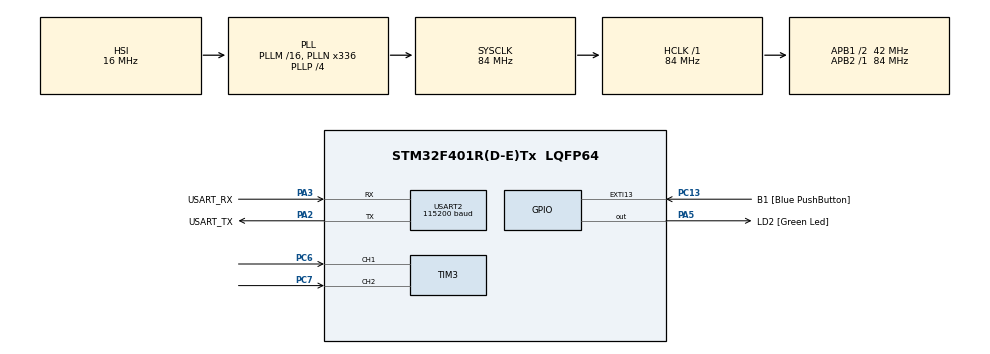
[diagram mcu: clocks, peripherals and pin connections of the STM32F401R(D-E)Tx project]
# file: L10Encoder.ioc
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Dma.Request0=USART2_TX
Dma.USART2_TX.0.Direction=DMA_MEMORY_TO_PERIPH
Dma.USART2_TX.0.FIFOMode=DMA_FIFOMODE_DISABLE
Dma.USART2_TX.0.Instance=DMA1_Stream6
Dma.USART2_TX.0.MemDataAlignment=DMA_MDATAALIGN_BYTE
Dma.USART2_TX.0.MemInc=DMA_MINC_ENABLE
Dma.USART2_TX.0.Mode=DMA_NORMAL
Dma.USART2_TX.0.PeriphDataAlignment=DMA_PDATAALIGN_BYTE
Dma.USART2_TX.0.PeriphInc=DMA_PINC_DISABLE
Dma.USART2_TX.0.Priority=DMA_PRIORITY_LOW
Mcu.Family=STM32F4
Mcu.Name=STM32F401R(D-E)Tx
Mcu.Package=LQFP64
NVIC.DMA1_Stream6_IRQn=true\:0\:0\:false\:false\:true\:false\:true\:true
NVIC.PriorityGroup=NVIC_PRIORITYGROUP_0
NVIC.TIM1_UP_TIM10_IRQn=true\:0\:0\:false\:false\:true\:true\:true\:true
NVIC.USART2_IRQn=true\:0\:0\:false\:false\:true\:true\:true\:true
PA13.GPIO_Label=TMS
PA13.Mode=Serial_Wire
PA13.Signal=SYS_JTMS-SWDIO
PA14.GPIO_Label=TCK
PA14.Mode=Serial_Wire
PA14.Signal=SYS_JTCK-SWCLK
PA2.GPIO_Label=USART_TX
PA2.GPIO_Mode=GPIO_MODE_AF_PP
PA2.GPIO_PuPd=GPIO_NOPULL
PA2.GPIO_Speed=GPIO_SPEED_FREQ_LOW
PA2.Mode=Asynchronous
PA2.Signal=USART2_TX
PA3.GPIO_Label=USART_RX
PA3.GPIO_Mode=GPIO_MODE_AF_PP
PA3.GPIO_PuPd=GPIO_NOPULL
PA3.GPIO_Speed=GPIO_SPEED_FREQ_LOW
PA3.Mode=Asynchronous
PA3.Signal=USART2_RX
PA5.GPIO_Label=LD2 [Green Led]
PA5.GPIO_Mode=GPIO_MODE_OUTPUT_PP
PA5.GPIO_PuPd=GPIO_NOPULL
PA5.GPIO_Speed=GPIO_SPEED_FREQ_LOW
PA5.Signal=GPIO_Output
PB3.GPIO_Label=SWO
PB3.Signal=SYS_JTDO-SWO
PC13-ANTI_TAMP.GPIO_Label=B1 [Blue PushButton]
PC13-ANTI_TAMP.GPIO_ModeDefaultEXTI=GPIO_MODE_IT_FALLING
PC13-ANTI_TAMP.GPIO_PuPd=GPIO_NOPULL
PC13-ANTI_TAMP.Signal=GPXTI13
PC14-OSC32_IN.Mode=LSE-External-Oscillator
PC14-OSC32_IN.Signal=RCC_OSC32_IN
PC15-OSC32_OUT.Mode=LSE-External-Oscillator
PC15-OSC32_OUT.Signal=RCC_OSC32_OUT
PC6.Signal=S_TIM3_CH1
PC7.Signal=S_TIM3_CH2
PH0\ -\ OSC_IN.Mode=HSE-External-Clock-Source
PH0\ -\ OSC_IN.Signal=RCC_OSC_IN
PH1\ -\ OSC_OUT.Mode=HSE-External-Clock-Source
PH1\ -\ OSC_OUT.Signal=RCC_OSC_OUT
ProjectManager.HeapSize=0x200
ProjectManager.StackSize=0x400
ProjectManager.TargetToolchain=STM32CubeIDE
RCC.48MHZClocksFreq_Value=48000000
RCC.AHBFreq_Value=84000000
RCC.APB1CLKDivider=RCC_HCLK_DIV2
RCC.APB1Freq_Value=42000000
RCC.APB1TimFreq_Value=84000000
RCC.APB2Freq_Value=84000000
RCC.APB2TimFreq_Value=84000000
RCC.CortexFreq_Value=84000000
RCC.HCLKFreq_Value=84000000
RCC.HSE_VALUE=8000000
RCC.HSI_VALUE=16000000
RCC.PLLN=336
RCC.PLLP=RCC_PLLP_DIV4
RCC.PLLQ=7
RCC.SYSCLKFreq_VALUE=84000000
RCC.SYSCLKSource=RCC_SYSCLKSOURCE_PLLCLK
RCC.VCOOutputFreq_Value=336000000
SH.S_TIM3_CH1.0=TIM3_CH1,Encoder_Interface
SH.S_TIM3_CH2.0=TIM3_CH2,Encoder_Interface
TIM1.Period=9999
TIM1.Prescaler=8399
TIM3.IC1Filter=15
TIM3.IC1Polarity=TIM_ICPOLARITY_FALLING
TIM3.IC2Filter=15
USART2.BaudRate=115200
USART2.VirtualMode=VM_ASYNC
VP_TIM1_VS_ClockSourceINT.Mode=Internal
board=NUCLEO-F401RE

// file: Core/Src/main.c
/* USER CODE BEGIN Header */
/**
  ******************************************************************************
  * @file           : main.c
  * @brief          : Main program body
  ******************************************************************************
  * @attention
  *
  * Copyright (c) 2024 STMicroelectronics.
  * All rights reserved.
  *
  * This software is licensed under terms that can be found in the LICENSE file
  * in the root directory of this software component.
  * If no LICENSE file comes with this software, it is provided AS-IS.
  *
  ******************************************************************************
  */
/* USER CODE END Header */
#include "main.h"

TIM_HandleTypeDef htim1;
TIM_HandleTypeDef htim3;

UART_HandleTypeDef huart2;
DMA_HandleTypeDef hdma_usart2_tx;

/* USER CODE BEGIN PV */
char string[128]; 	// string for UART
int length;			// length of string
uint16_t prev = 0;	// previous counter value
/* USER CODE END PV */

void SystemClock_Config(void);
static void MX_GPIO_Init(void);
static void MX_DMA_Init(void);
static void MX_USART2_UART_Init(void);
static void MX_TIM1_Init(void);
static void MX_TIM3_Init(void);

int main(void)
{

  /* MCU Configuration--------------------------------------------------------*/

  /* Reset of all peripherals, Initializes the Flash interface and the Systick. */
  HAL_Init();

  /* Configure the system clock */
  SystemClock_Config();

  /* Initialize all configured peripherals */
  MX_GPIO_Init();
  MX_DMA_Init();
  MX_USART2_UART_Init();
  MX_TIM1_Init();
  MX_TIM3_Init();
  /* USER CODE BEGIN 2 */
  HAL_TIM_Encoder_Start(&htim3, TIM_CHANNEL_ALL);
  HAL_TIM_Base_Start_IT(&htim1);
  /* USER CODE END 2 */

  /* Infinite loop */
  while (1)
  {

  }
}

void SystemClock_Config(void)
{
  RCC_OscInitTypeDef RCC_OscInitStruct = {0};
  RCC_ClkInitTypeDef RCC_ClkInitStruct = {0};

  /** Configure the main internal regulator output voltage
  */
  __HAL_RCC_PWR_CLK_ENABLE();
  __HAL_PWR_VOLTAGESCALING_CONFIG(PWR_REGULATOR_VOLTAGE_SCALE2);

  /** Initializes the RCC Oscillators according to the specified parameters
  * in the RCC_OscInitTypeDef structure.
  */
  RCC_OscInitStruct.OscillatorType = RCC_OSCILLATORTYPE_HSI;
  RCC_OscInitStruct.HSIState = RCC_HSI_ON;
  RCC_OscInitStruct.HSICalibrationValue = RCC_HSICALIBRATION_DEFAULT;
  RCC_OscInitStruct.PLL.PLLState = RCC_PLL_ON;
  RCC_OscInitStruct.PLL.PLLSource = RCC_PLLSOURCE_HSI;
  RCC_OscInitStruct.PLL.PLLM = 16;
  RCC_OscInitStruct.PLL.PLLN = 336;
  RCC_OscInitStruct.PLL.PLLP = RCC_PLLP_DIV4;
  RCC_OscInitStruct.PLL.PLLQ = 7;
  if (HAL_RCC_OscConfig(&RCC_OscInitStruct) != HAL_OK)
  {
    Error_Handler();
  }

  /** Initializes the CPU, AHB and APB buses clocks
  */
  RCC_ClkInitStruct.ClockType = RCC_CLOCKTYPE_HCLK|RCC_CLOCKTYPE_SYSCLK
                              |RCC_CLOCKTYPE_PCLK1|RCC_CLOCKTYPE_PCLK2;
  RCC_ClkInitStruct.SYSCLKSource = RCC_SYSCLKSOURCE_PLLCLK;
  RCC_ClkInitStruct.AHBCLKDivider = RCC_SYSCLK_DIV1;
  RCC_ClkInitStruct.APB1CLKDivider = RCC_HCLK_DIV2;
  RCC_ClkInitStruct.APB2CLKDivider = RCC_HCLK_DIV1;

  if (HAL_RCC_ClockConfig(&RCC_ClkInitStruct, FLASH_LATENCY_2) != HAL_OK)
  {
    Error_Handler();
  }
}

static void MX_TIM1_Init(void)
{

  TIM_ClockConfigTypeDef sClockSourceConfig = {0};
  TIM_MasterConfigTypeDef sMasterConfig = {0};

  htim1.Instance = TIM1;
  htim1.Init.Prescaler = 8399;
  htim1.Init.CounterMode = TIM_COUNTERMODE_UP;
  htim1.Init.Period = 9999;
  htim1.Init.ClockDivision = TIM_CLOCKDIVISION_DIV1;
  htim1.Init.RepetitionCounter = 0;
  htim1.Init.AutoReloadPreload = TIM_AUTORELOAD_PRELOAD_DISABLE;
  if (HAL_TIM_Base_Init(&htim1) != HAL_OK)
  {
    Error_Handler();
  }
  sClockSourceConfig.ClockSource = TIM_CLOCKSOURCE_INTERNAL;
  if (HAL_TIM_ConfigClockSource(&htim1, &sClockSourceConfig) != HAL_OK)
  {
    Error_Handler();
  }
  sMasterConfig.MasterOutputTrigger = TIM_TRGO_RESET;
  sMasterConfig.MasterSlaveMode = TIM_MASTERSLAVEMODE_DISABLE;
  if (HAL_TIMEx_MasterConfigSynchronization(&htim1, &sMasterConfig) != HAL_OK)
  {
    Error_Handler();
  }

}

static void MX_TIM3_Init(void)
{

  TIM_Encoder_InitTypeDef sConfig = {0};
  TIM_MasterConfigTypeDef sMasterConfig = {0};

  htim3.Instance = TIM3;
  htim3.Init.Prescaler = 0;
  htim3.Init.CounterMode = TIM_COUNTERMODE_UP;
  htim3.Init.Period = 65535;
  htim3.Init.ClockDivision = TIM_CLOCKDIVISION_DIV1;
  htim3.Init.AutoReloadPreload = TIM_AUTORELOAD_PRELOAD_DISABLE;
  sConfig.EncoderMode = TIM_ENCODERMODE_TI1;
  sConfig.IC1Polarity = TIM_ICPOLARITY_FALLING;
  sConfig.IC1Selection = TIM_ICSELECTION_DIRECTTI;
  sConfig.IC1Prescaler = TIM_ICPSC_DIV1;
  sConfig.IC1Filter = 15;
  sConfig.IC2Polarity = TIM_ICPOLARITY_RISING;
  sConfig.IC2Selection = TIM_ICSELECTION_DIRECTTI;
  sConfig.IC2Prescaler = TIM_ICPSC_DIV1;
  sConfig.IC2Filter = 15;
  if (HAL_TIM_Encoder_Init(&htim3, &sConfig) != HAL_OK)
  {
    Error_Handler();
  }
  sMasterConfig.MasterOutputTrigger = TIM_TRGO_RESET;
  sMasterConfig.MasterSlaveMode = TIM_MASTERSLAVEMODE_DISABLE;
  if (HAL_TIMEx_MasterConfigSynchronization(&htim3, &sMasterConfig) != HAL_OK)
  {
    Error_Handler();
  }

}

static void MX_USART2_UART_Init(void)
{

  huart2.Instance = USART2;
  huart2.Init.BaudRate = 115200;
  huart2.Init.WordLength = UART_WORDLENGTH_8B;
  huart2.Init.StopBits = UART_STOPBITS_1;
  huart2.Init.Parity = UART_PARITY_NONE;
  huart2.Init.Mode = UART_MODE_TX_RX;
  huart2.Init.HwFlowCtl = UART_HWCONTROL_NONE;
  huart2.Init.OverSampling = UART_OVERSAMPLING_16;
  if (HAL_UART_Init(&huart2) != HAL_OK)
  {
    Error_Handler();
  }

}

static void MX_DMA_Init(void)
{

  /* DMA controller clock enable */
  __HAL_RCC_DMA1_CLK_ENABLE();

  /* DMA interrupt init */
  /* DMA1_Stream6_IRQn interrupt configuration */
  HAL_NVIC_SetPriority(DMA1_Stream6_IRQn, 0, 0);
  HAL_NVIC_EnableIRQ(DMA1_Stream6_IRQn);

}

static void MX_GPIO_Init(void)
{
  GPIO_InitTypeDef GPIO_InitStruct = {0};

  /* GPIO Ports Clock Enable */
  __HAL_RCC_GPIOC_CLK_ENABLE();
  __HAL_RCC_GPIOH_CLK_ENABLE();
  __HAL_RCC_GPIOA_CLK_ENABLE();
  __HAL_RCC_GPIOB_CLK_ENABLE();

  /*Configure GPIO pin Output Level */
  HAL_GPIO_WritePin(LD2_GPIO_Port, LD2_Pin, GPIO_PIN_RESET);

  /*Configure GPIO pin : B1_Pin */
  GPIO_InitStruct.Pin = B1_Pin;
  GPIO_InitStruct.Mode = GPIO_MODE_IT_FALLING;
  GPIO_InitStruct.Pull = GPIO_NOPULL;
  HAL_GPIO_Init(B1_GPIO_Port, &GPIO_InitStruct);

  /*Configure GPIO pin : LD2_Pin */
  GPIO_InitStruct.Pin = LD2_Pin;
  GPIO_InitStruct.Mode = GPIO_MODE_OUTPUT_PP;
  GPIO_InitStruct.Pull = GPIO_NOPULL;
  GPIO_InitStruct.Speed = GPIO_SPEED_FREQ_LOW;
  HAL_GPIO_Init(LD2_GPIO_Port, &GPIO_InitStruct);

}

/* USER CODE BEGIN 4 */
void HAL_TIM_PeriodElapsedCallback(TIM_HandleTypeDef *htim) {
	if (htim->Instance == TIM1) {
		uint16_t counter = __HAL_TIM_GET_COUNTER(&htim3);
		float rot_freq = (counter - prev)*60.0/24.0; // rotation frequency in rpm
		prev = counter;			// update previous value
		if (rot_freq >= 160000) // underflow
			rot_freq -= 163840; // 2^16 * 60/24
		else if (rot_freq <= -160000) // overflow
			rot_freq += 163840;
		if (rot_freq > 0)
			length = snprintf(string, sizeof(string), "Rotation Frequency: +%.1f rpm\n", rot_freq);
		else
			length = snprintf(string, sizeof(string), "Rotation Frequency: %.1f rpm\n", rot_freq);
		HAL_UART_Transmit_DMA(&huart2, string, length);
	}
}

/* USER CODE END 4 */

void Error_Handler(void)
{
  __disable_irq();
  while (1)
  {
  }
}
